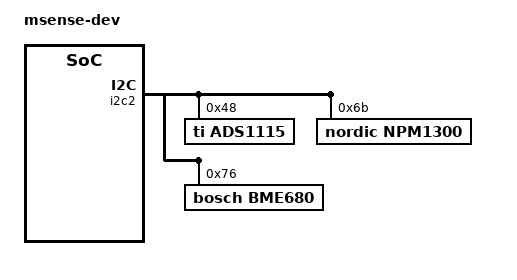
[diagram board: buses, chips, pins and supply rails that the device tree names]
// Copyright (c) 2024 Nordic Semiconductor ASA
// SPDX-License-Identifier: Apache-2.0

/dts-v1/;
#include <nordic/nrf9160ns_sica.dtsi>
#include "msense_dev_common.dtsi"
/ {
	model = "msense-dev";
	compatible = "nmbu,msense-dev";

	chosen {
		zephyr,flash = &flash0;
		//zephyr,code-partition = &app_partition;
	};
};


&flash0 {
    status = "okay";
};

&i2c2 {
	ads1115@48 {
		compatible = "ti,ads1115";
		reg = <0x48>;
		#io-channel-cells = <1>;
	};

	npm1300@6b {
		compatible = "nordic,npm1300";
		reg = <0x6b>;
	};
	bme680@76 {
		compatible = "bosch,bme680";
		reg = <0x76>;
	};
	status = "okay";
};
